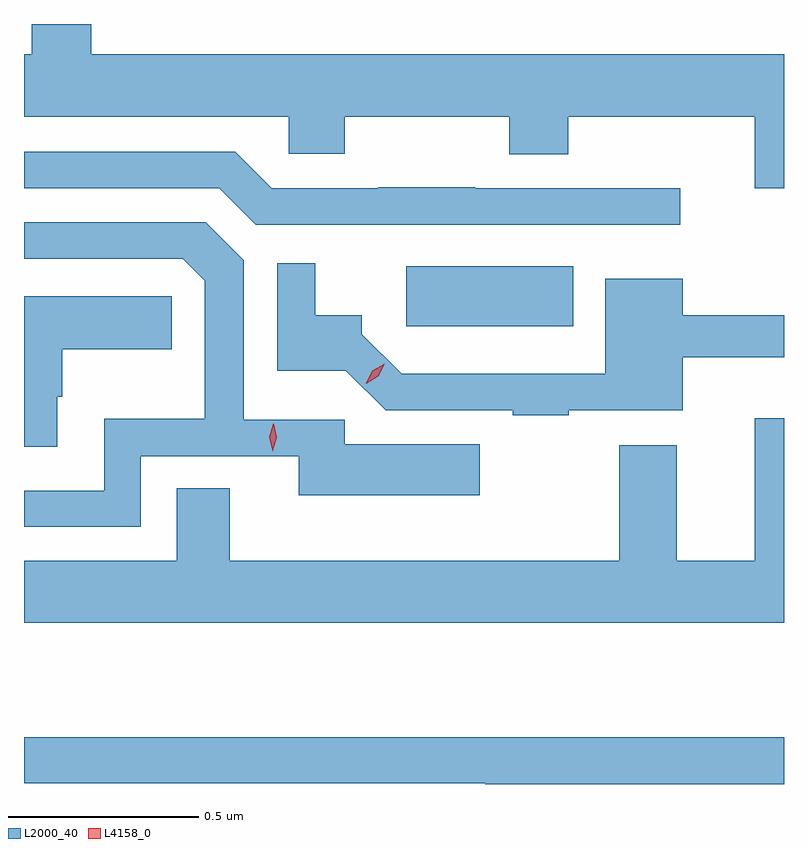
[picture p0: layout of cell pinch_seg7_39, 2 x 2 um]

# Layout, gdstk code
import gdstk
lib = gdstk.Library(unit=1e-6, precision=1e-09)
def R(c, l, rs):  # rectangles x0, y0, x1, y1
    for r in rs: c.add(gdstk.rectangle(r[:2], r[2:], *l))
def P(c, l, *ps):  # polygons
    for p in ps: c.add(gdstk.Polygon(p, *l))
L2000_40 = (2000, 40)
L4158_0 = (4158, 0)

pinch_seg7_39 = lib.new_cell('pinch_seg7_39')
R(pinch_seg7_39, L2000_40, [(1051.203,1069.328,1051.642,1069.486)])
P(pinch_seg7_39, L2000_40, [(1052.197,1070.044),(1050.374,1070.044),(1050.374,1070.124),(1050.217,1070.124),(1050.217,1070.044),(1050.197,1070.044),(1050.197,1069.88),(1050.894,1069.88),(1050.894,1069.782),(1051.041,1069.782),(1051.041,1069.88),(1051.474,1069.88),(1051.474,1069.781),(1051.629,1069.781),(1051.629,1069.88),(1052.12,1069.88),(1052.12,1069.692),(1052.197,1069.692)],
  [(1051.924,1069.692),(1051.385,1069.692),(1051.385,1069.694),(1051.129,1069.694),(1051.129,1069.692),(1050.849,1069.692),(1050.753,1069.788),(1050.197,1069.788),(1050.197,1069.692),(1050.711,1069.692),(1050.807,1069.596),(1051.924,1069.596)],
  [(1050.504,1068.987),(1050.92,1068.987),(1050.92,1068.884),(1051.396,1068.884),(1051.396,1069.018),(1051.041,1069.018),(1051.041,1069.083),(1050.775,1069.083),(1050.775,1069.502),(1050.675,1069.602),(1050.197,1069.602),(1050.197,1069.506),(1050.615,1069.506),(1050.672,1069.449),(1050.672,1069.085),(1050.408,1069.085),(1050.408,1068.896),(1050.197,1068.896),(1050.197,1068.801),(1050.504,1068.801)],
  [(1051.631,1069.107),(1051.93,1069.107),(1051.93,1069.247),(1052.197,1069.247),(1052.197,1069.357),(1051.93,1069.357),(1051.93,1069.453),(1051.727,1069.453),(1051.727,1069.203),(1051.191,1069.203),(1051.086,1069.308),(1051.086,1069.357),(1050.963,1069.357),(1050.963,1069.495),(1050.864,1069.495),(1050.864,1069.212),(1051.044,1069.212),(1051.149,1069.107),(1051.483,1069.107),(1051.483,1069.095),(1051.631,1069.095)],
  [(1050.285,1069.143),(1050.298,1069.143),(1050.298,1069.268),(1050.586,1069.268),(1050.586,1069.407),(1050.479,1069.407),(1050.479,1069.408),(1050.197,1069.408),(1050.197,1069.011),(1050.285,1069.011)],
  [(1052.197,1069.087),(1052.12,1069.087),(1052.12,1068.712),(1051.915,1068.712),(1051.915,1069.015),(1051.763,1069.015),(1051.763,1068.712),(1050.739,1068.712),(1050.739,1068.902),(1050.599,1068.902),(1050.599,1068.712),(1050.197,1068.712),(1050.197,1068.548),(1052.197,1068.548)],
  [(1052.197,1068.247),(1050.197,1068.247),(1050.197,1068.126),(1051.411,1068.126),(1051.411,1068.124),(1052.197,1068.124)])
P(pinch_seg7_39, L4158_0, [(1051.097,1069.177),(1051.097,1069.178),(1051.114,1069.211),(1051.146,1069.23),(1051.146,1069.23),(1051.146,1069.23),(1051.129,1069.197),(1051.098,1069.177)],
  [(1050.851,1069),(1050.851,1069.001),(1050.842,1069.037),(1050.853,1069.072),(1050.853,1069.072),(1050.854,1069.072),(1050.862,1069.036),(1050.851,1069.001)])

lib.write_gds('pinch_seg7_39.gds')
